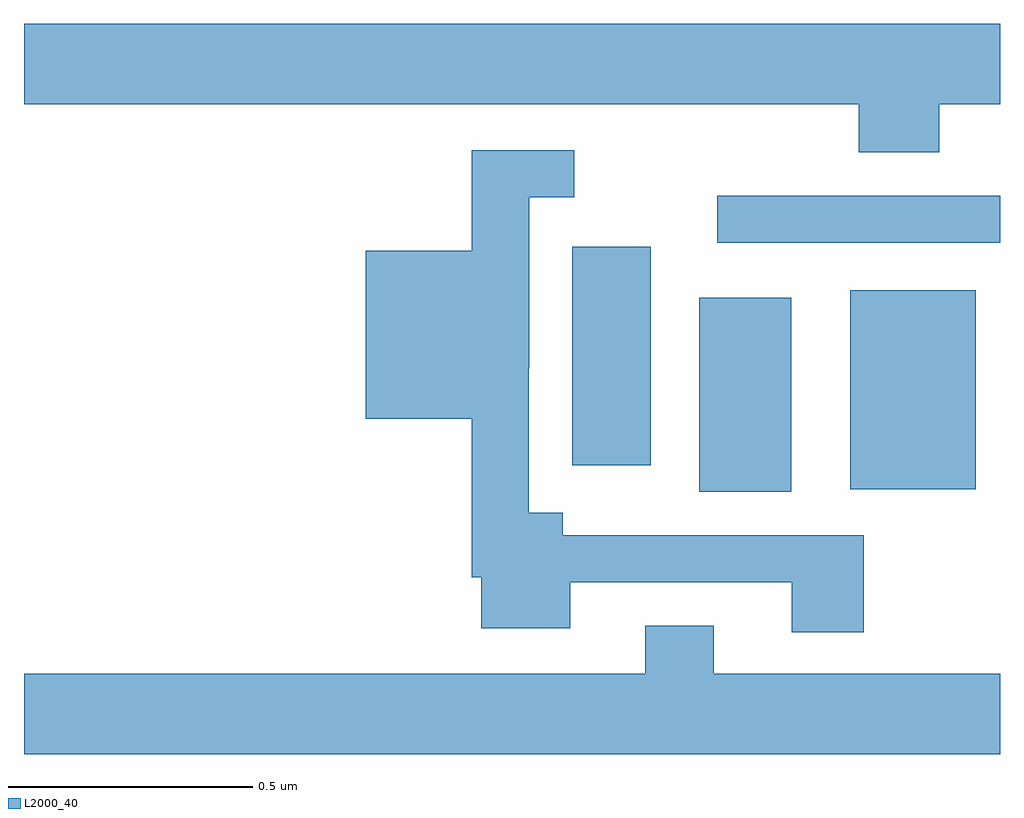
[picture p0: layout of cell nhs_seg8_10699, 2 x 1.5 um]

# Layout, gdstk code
import gdstk
lib = gdstk.Library(unit=1e-6, precision=1e-09)
def R(c, l, rs):  # rectangles x0, y0, x1, y1
    for r in rs: c.add(gdstk.rectangle(r[:2], r[2:], *l))
def P(c, l, *ps):  # polygons
    for p in ps: c.add(gdstk.Polygon(p, *l))
L2000_40 = (2000, 40)

nhs_seg8_10699 = lib.new_cell('nhs_seg8_10699')
R(nhs_seg8_10699, L2000_40, [(254.384,1095.725,254.572,1096.123), (254.693,1095.731,254.95,1096.138), (254.123,1095.78,254.284,1096.228), (254.421,1096.236,255,1096.332)])
P(nhs_seg8_10699, L2000_40, [(254.876,1096.52),(255,1096.52),(255,1096.684),(253,1096.684),(253,1096.52),(254.711,1096.52),(254.711,1096.421),(254.876,1096.421)],
  [(254.721,1095.636),(254.104,1095.636),(254.104,1095.682),(254.034,1095.682),(254.034,1095.979),(254.035,1095.979),(254.035,1096.329),(254.128,1096.329),(254.128,1096.425),(253.918,1096.425),(253.918,1096.219),(253.7,1096.219),(253.7,1095.875),(253.918,1095.875),(253.918,1095.55),(253.937,1095.55),(253.937,1095.446),(254.119,1095.446),(254.119,1095.54),(254.573,1095.54),(254.573,1095.438),(254.721,1095.438)],
  [(254.273,1095.451),(254.273,1095.352),(253,1095.352),(253,1095.188),(255,1095.188),(255,1095.352),(254.413,1095.352),(254.413,1095.451)])

lib.write_gds('nhs_seg8_10699.gds')
